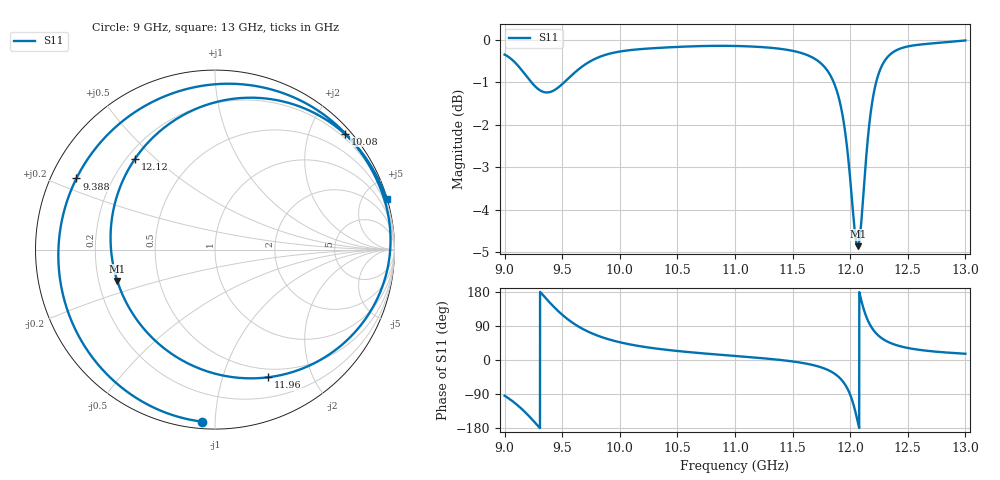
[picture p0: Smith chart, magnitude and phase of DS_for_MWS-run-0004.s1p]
! TOUCHSTONE file generated by CST DESIGN STUDIO
! Date and time: Wed Feb  5 13:19:34 2025
! Project name: C:\Work\MatlabApps\UnitCellOptimizationMatlab\CST\unitcell.cst
! Tree item: Tasks\Sweep1\SPara1\S-Parameters
! Header version: 2024
! Port assignment regex: !\s*Touchstone port\s*([0-9]+)\s*=\s*(CST MWS port|CST DES external port|CST DES block port)\s*(.+)\s* \(\"(.*)\"\)(\s*mode\s*([0-9]+))?.*
! Touchstone port assignment:
! Touchstone port 1 = CST DES external port 1 ("")
# GHz S MA R 50
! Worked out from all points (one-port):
!   4001 points, 9 GHz to 13 GHz, reference 50 ohm
!   lowest |S11| = -4.9 dB at 12.06 GHz (marker M1), VSWR 3.67, Z = 13.9 - j7.26 ohm
!   |S11| at or under -10 dB: nowhere
!   S11 on the Smith chart (normalised r, x): 9 GHz: 0.04, -0.93; 9.388 GHz: 0.07, +0.24; 10.08 GHz: 0.11, +2.62; 11.96 GHz: 0.41, -1.42; 12.12 GHz: 0.23, +0.43; 13 GHz: 0.03, +6.89
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9  0.9612 -94.2
9.12  0.9315 -121.4
9.237  0.8902 -156.2
9.311  0.8718 178.8
9.388  0.868 152.8
9.5  0.8872 119.5
9.606  0.9148 95.0
9.741  0.9435 72.6
10  0.9693 46.8
10.079  0.9726 41.7
10.5  0.9815 23.8
11  0.984 10.7
11.5  0.9711 -3.8
11.813  0.9157 -27.2
11.897  0.8591 -43.9
11.961  0.7705 -67.4
12  0.6859 -91.7
12.032  0.6105 -121.3
12.065  0.5717 -162.1
12.091  0.599 163.8
12.12  0.6737 131.5
12.148  0.7525 108.1
12.179  0.8232 89.3
12.224  0.8904 70.8
12.272  0.9307 57.9
12.365  0.966 43.0
12.5  0.9827 31.7
13  0.9988 16.5
